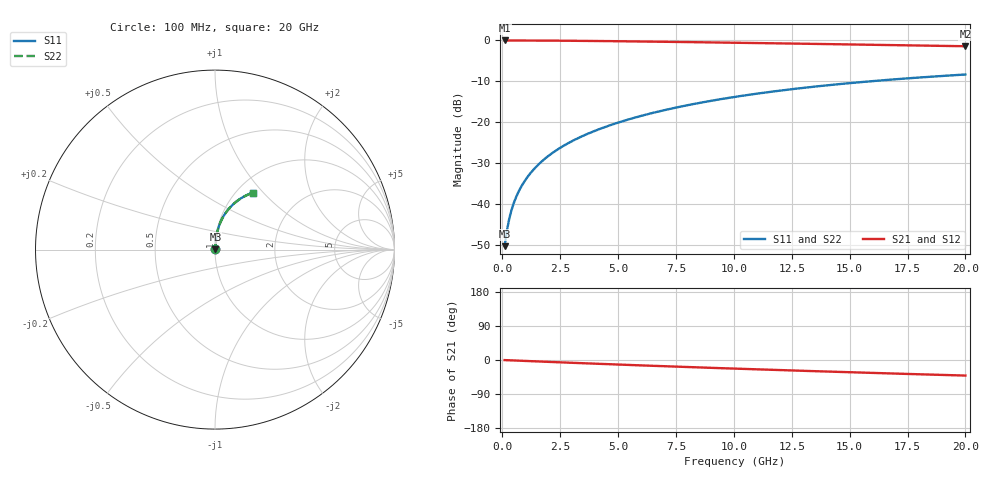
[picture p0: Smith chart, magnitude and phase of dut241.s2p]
! Touchstone file exported from HFSS 2024.1.0
!  File:  C:/UserFiles/LocalFiles/RDL_TSV_Batchsim/temp_RDL_top_241_1778688537.aedt
!  Generated:  12:11:08 AM May 14, 2026
!  Design:  RDL_top
!  Project:  temp_RDL_top_241_1778688537
!  Setup:  Setup1
!  Solution:  Sweep
! Variables:
!  dtsv = 10.80580581um
!  hbump = 3um
!  htsv = 84.54um
!  ldown = 100um
!  lrdl = 569.52um
!  p = 40
!  p1 = 53.72um
!  rhole = 1um
!  t = 450um
!  tdown = 3.915915916um
!  trdl = 4.63um
!  wdown = 15.38538539um
!  wrdl = 20.95um
# GHz S MA R 50.000000
! Terminal data exported
! Port[1] = Box2_T1
! Port[2] = Box2_T2
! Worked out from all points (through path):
!   200 points, 100 MHz to 20 GHz, reference 50 ohm
!   highest |S21| = -0.02 dB at 100 MHz (marker M1); lowest = -1.4 dB at 20 GHz (marker M2)
!   group delay of S21, straight-line fit = 5.66 ps
!   lowest |S11| = -50.3 dB at 100 MHz (marker M3), VSWR 1.01, Z = 50.2 + j0.21 ohm
!   |S11| at or under -10 dB: start of sweep to 15.89 GHz
!   |S22| runs from -50.3 to -8.3 dB; largest |S21 - S12| = 3.4e-15
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0.1  0.00306 43.1  0.9978 -0.3  0.9978 -0.3  0.00306 43.1
! Gamma 0 0 0 0
! Port Impedance 50 0 50 0
0.2  0.004755 60.5  0.9976 -0.5  0.9976 -0.5  0.004755 60.5
0.3  0.00661 68.0  0.9975 -0.8  0.9975 -0.8  0.00661 68.0
0.4  0.008485 72.1  0.9973 -1.0  0.9973 -1.0  0.008485 72.1
0.5  0.01036 74.7  0.9971 -1.3  0.9971 -1.3  0.01036 74.7
0.6  0.01223 76.6  0.997 -1.5  0.997 -1.5  0.01223 76.6
0.8  0.01598 79.1  0.9966 -2.0  0.9966 -2.0  0.01598 79.1
1.1  0.02164 81.3  0.996 -2.7  0.996 -2.7  0.02164 81.3
1.5  0.02927 82.8  0.995 -3.7  0.995 -3.7  0.02927 82.8
1.8  0.03505 83.4  0.9941 -4.5  0.9941 -4.5  0.03505 83.4
2.1  0.04086 83.8  0.993 -5.2  0.993 -5.2  0.04086 83.8
2.7  0.05259 84.1  0.9904 -6.6  0.9904 -6.6  0.05259 84.1
3.5  0.06847 83.9  0.9862 -8.6  0.9862 -8.6  0.06847 83.9
4.2  0.08257 83.4  0.982 -10.2  0.982 -10.2  0.08257 83.4
5  0.09891 82.6  0.9766 -12.0  0.9766 -12.0  0.09891 82.6
6.8  0.1363 80.2  0.963 -16.0  0.963 -16.0  0.1363 80.2
8.4  0.1698 77.6  0.95 -19.4  0.95 -19.4  0.1698 77.6
10.1  0.2051 74.5  0.9356 -22.9  0.9356 -22.9  0.205 74.5
11.7  0.2374 71.5  0.9217 -26.0  0.9217 -26.0  0.2374 71.5
13.4  0.2706 68.3  0.9067 -29.3  0.9067 -29.3  0.2705 68.3
16.7  0.3302 62.1  0.8773 -35.4  0.8773 -35.4  0.3301 62.1
20  0.3828 56.2  0.8479 -41.1  0.8479 -41.1  0.3827 56.2
